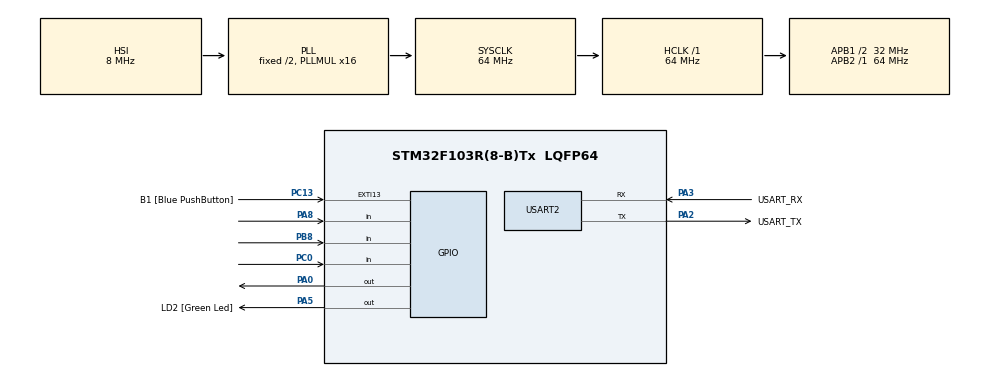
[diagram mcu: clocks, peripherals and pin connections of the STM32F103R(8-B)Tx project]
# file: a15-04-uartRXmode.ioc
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Mcu.Family=STM32F1
Mcu.Name=STM32F103R(8-B)Tx
Mcu.Package=LQFP64
NVIC.EXTI15_10_IRQn=true\:0\:0\:false\:false\:true\:true\:true
NVIC.PriorityGroup=NVIC_PRIORITYGROUP_4
NVIC.TIM3_IRQn=true\:0\:0\:false\:false\:true\:true\:true
PA0-WKUP.Signal=GPIO_Output
PA13.GPIO_Label=TMS
PA13.Mode=Serial_Wire
PA13.Signal=SYS_JTMS-SWDIO
PA14.GPIO_Label=TCK
PA14.Mode=Serial_Wire
PA14.Signal=SYS_JTCK-SWCLK
PA2.GPIO_Label=USART_TX
PA2.GPIO_Mode=GPIO_MODE_AF_PP
PA2.GPIO_PuPd=GPIO_NOPULL
PA2.GPIO_Speed=GPIO_SPEED_FREQ_LOW
PA2.Mode=Asynchronous
PA2.Signal=USART2_TX
PA3.GPIO_Label=USART_RX
PA3.GPIO_Mode=GPIO_MODE_AF_PP
PA3.GPIO_PuPd=GPIO_NOPULL
PA3.GPIO_Speed=GPIO_SPEED_FREQ_LOW
PA3.Mode=Asynchronous
PA3.Signal=USART2_RX
PA5.GPIO_Label=LD2 [Green Led]
PA5.GPIO_ModeDefaultOutputPP=GPIO_MODE_OUTPUT_PP
PA5.GPIO_PuPd=GPIO_NOPULL
PA5.GPIO_Speed=GPIO_SPEED_FREQ_LOW
PA5.Signal=GPIO_Output
PA8.Signal=GPIO_Input
PB3.GPIO_Label=SWO
PB3.Signal=SYS_JTDO-TRACESWO
PB8.Signal=GPIO_Input
PC0.Signal=GPIO_Input
PC13-TAMPER-RTC.GPIO_Label=B1 [Blue PushButton]
PC13-TAMPER-RTC.GPIO_PuPd=GPIO_NOPULL
PC13-TAMPER-RTC.Signal=GPXTI13
PC14-OSC32_IN.Mode=LSE-External-Oscillator
PC14-OSC32_IN.Signal=RCC_OSC32_IN
PC15-OSC32_OUT.Mode=LSE-External-Oscillator
PC15-OSC32_OUT.Signal=RCC_OSC32_OUT
PD0-OSC_IN.Mode=HSE-External-Clock-Source
PD0-OSC_IN.Signal=RCC_OSC_IN
PD1-OSC_OUT.Mode=HSE-External-Clock-Source
PD1-OSC_OUT.Signal=RCC_OSC_OUT
ProjectManager.HeapSize=0x200
ProjectManager.StackSize=0x400
ProjectManager.TargetToolchain=STM32CubeIDE
RCC.AHBFreq_Value=64000000
RCC.APB1CLKDivider=RCC_HCLK_DIV2
RCC.APB1Freq_Value=32000000
RCC.APB1TimFreq_Value=64000000
RCC.APB2Freq_Value=64000000
RCC.APB2TimFreq_Value=64000000
RCC.HCLKFreq_Value=64000000
RCC.PLLMUL=RCC_PLL_MUL16
RCC.RTCClockSelection=RCC_RTCCLKSOURCE_LSE
RCC.SYSCLKFreq_VALUE=64000000
RCC.SYSCLKSource=RCC_SYSCLKSOURCE_PLLCLK
RCC.USBFreq_Value=64000000
TIM3.Period=25
TIM3.Prescaler=63
USART2.VirtualMode=VM_ASYNC
VP_TIM3_VS_ClockSourceINT.Mode=Internal
board=NUCLEO-F103RB

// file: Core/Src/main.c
/* USER CODE BEGIN Header */
/**
  ******************************************************************************
  * @file           : main.c
  * @brief          : Main program body
  ******************************************************************************
  * @attention
  *
  * <h2><center>&copy; Copyright (c) 2022 STMicroelectronics.
  * All rights reserved.</center></h2>
  *
  * This software component is licensed by ST under BSD 3-Clause license,
  * the "License"; You may not use this file except in compliance with the
  * License. You may obtain a copy of the License at:
  *                        opensource.org/licenses/BSD-3-Clause
  *
  ******************************************************************************
  */
/* USER CODE END Header */

#include "main.h"

/* USER CODE BEGIN Includes */
#include "stdio.h"
/* USER CODE END Includes */

/* USER CODE BEGIN PD */
#ifdef __GNUC__
  /* With GCC/RAISONANCE, small printf (option LD Linker->Libraries->Small printf
     set to 'Yes') calls __io_putchar() */
  #define PUTCHAR_PROTOTYPE int __io_putchar(int ch)
#else
  #define PUTCHAR_PROTOTYPE int fputc(int ch, FILE *f)
#endif /* __GNUC__ */

typedef struct ts_rxType{
	char start;
	unsigned char data;
	char parity;
	char stop;
	char error;
} rxType;
/* USER CODE END PD */

TIM_HandleTypeDef htim3;

UART_HandleTypeDef huart2;

/* USER CODE BEGIN PV */

char Uart_Rx_Parity_Mode;
rxType rxData[32];
int rxByte_cnt;
int rxBit_cnt;
int rxBit_value;
int rxSamp_cnt;
int rxParity_bit;
char Uart_Rx_flag;
char Uart_Rx_active;
char Uart_Rx_Temp;
char Uart_Rx_trigger;
char Uart_Rx_data;
char Uart_Rx_parity;
char Uart_Rx_stop;

/* USER CODE END PV */

void SystemClock_Config(void);
static void MX_GPIO_Init(void);
static void MX_TIM3_Init(void);
static void MX_USART2_UART_Init(void);

/* USER CODE BEGIN 0 */

PUTCHAR_PROTOTYPE
{
  /* Place your implementation of fputc here */
  /* e.g. write a character to the EVAL_COM1 and Loop until the end of transmission */
  HAL_UART_Transmit(&huart2, (uint8_t *)&ch, 1, 0xFFFF);

  return ch;
}

void HAL_TIM_PeriodElapsedCallback(TIM_HandleTypeDef *htim)
{
	if(htim->Instance == htim3.Instance){
		if('y' == Uart_Rx_flag){
			if('n' == Uart_Rx_active){
				//Rx가 active하지 않을 떄는 Temp에 값을 받아옴.
				Uart_Rx_Temp <<= 1; // 값을 하나씩 밀어서 저장
				if(GPIO_PIN_SET == HAL_GPIO_ReadPin(GPIOC, GPIO_PIN_0)){
					Uart_Rx_Temp += 1; //값이 true면 오른쪽 비트에 1을 씀
				}
				if((Uart_Rx_Temp & 0x0f) == 0x0c){
					//쭉 보다보니 Temp에 들어온 값이 1100일 때 스타트로 인식
					Uart_Rx_active = 'y'; //active yes로 만듬
					Uart_Rx_Temp = 0x00; //temp 값을 비움
					rxByte_cnt += 1; //바이트 하나를 셈
					rxData[rxByte_cnt].start = 'y'; //start yes
					rxData[rxByte_cnt].data = 0x00; //data 0x00
					rxData[rxByte_cnt].parity = 'n'; //parity n
					rxData[rxByte_cnt].stop = 'x'; //stop x
					rxBit_cnt = 0; //bit count 0
					rxSamp_cnt = 0; // Sample count 0
					rxParity_bit = 0; //parity 0
					Uart_Rx_trigger = 'n'; //trigger no
					Uart_Rx_data = 'n'; //data no
					Uart_Rx_parity = 'n'; //parity none
					Uart_Rx_stop = 'n'; //stop no
				}
			}else{ //114번 줄에서 y로 바뀜
				Uart_Rx_trigger = 'n'; //trigger no c125에서도 no로 만듬
				rxSamp_cnt += 1;
				if((rxSamp_cnt % 4) == 0){
					//샘플링 4번 하고
					Uart_Rx_trigger = 'y'; //그러면 trigger yes로 만듬
					if(GPIO_PIN_SET == HAL_GPIO_ReadPin(GPIOC, GPIO_PIN_0)){
						rxBit_value = 1;
						//만약 값이 들어오면 bit value 1로
					}else{
						rxBit_value = 0;
						//안들어오면 0으로
					}
					rxBit_cnt += 1;
					//비트 카운터를 1 더함
					if((1 <= rxBit_cnt) && (rxBit_cnt <= 8)){
						//비트 카운터가 1부터 8일 때는
						Uart_Rx_data = 'y'; //data를 y로 만듬
					//---
					}else if(9 == rxBit_cnt){
						//비트 카운터가 9라면
						Uart_Rx_data = 'n'; //data 가 n이ㅣ됨
						if('n' == Uart_Rx_Parity_Mode){
							//패리티가 n이라면
							Uart_Rx_parity = 'n'; //parity no
							Uart_Rx_stop = 'y'; //stop yes
						}else if('e' == Uart_Rx_Parity_Mode){
							//패리티가 e라면
							Uart_Rx_parity = 'y'; //parity yes
						}else if('o' == Uart_Rx_Parity_Mode){
							Uart_Rx_parity = 'y'; //parity yes
						}
					}else if(10 == rxBit_cnt){
						Uart_Rx_parity = 'n'; //parity no
						Uart_Rx_stop = 'y'; //stop yes!
					}
					//---
					/*
					else if(9 == rxBit_cnt){
						Uart_Rx_data = 'n';
						Uart_Rx_parity = 'y';

						//----- pairyt bit 異붽? ----------------------

					}else if(10 == rxBit_cnt){
						Uart_Rx_parity = 'n';
						Uart_Rx_stop = 'y';

						//----- stop bit 異붽? ----------------------

					}
					*/
				}
				if(('y' == Uart_Rx_trigger) && ('y' == Uart_Rx_data)){
					//만약 trigger yes에 (만약 데이터를 샘플링 했다면 yes가 됨)
					//data yes라면 실행
					rxData[rxByte_cnt].data >>= 1; //해당 struct.data를 오른쪽으로 1만큼 밀음
					if(1 == rxBit_value){
						//비트 value가 1이라면
						rxData[rxByte_cnt].data += 0x80;
						//데이터 맨 왼쪽에 1을 씀
						rxParity_bit += 1;
						//패리티 비트 갯수를 1로 더함;
					}
				}
				if(('y' == Uart_Rx_trigger) && ('y' == Uart_Rx_parity)){
					//trigger yes고 parity yes라면
					//---
					if('e' == Uart_Rx_Parity_Mode){
						//패리티가 e라면
						if(((rxParity_bit % 2) == 0) && (0 == rxBit_value)){
							//만약 패리티 비트 갯수가 짝수고, bitvalue가 더이상 없다면
							rxData[rxByte_cnt].parity = 'e'; //패리티는 e다
						}else if(((rxParity_bit % 2) == 1) && (1 == rxBit_value)){
							//만약 비트 갯수가 홀수고 bitvalue가 하나 있다면
							rxData[rxByte_cnt].parity = 'e';//e다
						}else{
							rxData[rxByte_cnt].parity = 'f'; //아니면 f
						}
					}else if('o' == Uart_Rx_Parity_Mode){
						//만약 parity가 o라면
						if(((rxParity_bit % 2) == 0) && (1 == rxBit_value)){
							//짝수개고 bitvalue가 하나 남았으면
							rxData[rxByte_cnt].parity = 'o'; //o다

						}else if(((rxParity_bit % 2) == 1) && (0 == rxBit_value)){
							//홀수개인데 비트 밸류가 남지 않았다면
							rxData[rxByte_cnt].parity = 'o'; //o다
						}else{
							rxData[rxByte_cnt].parity = 'f'; //아니면 f다
						}
					}
					/*
					else if('n' == Uart_Rx_Parity_Mode){
						//패리티가 n이면
						if(((rxParity_bit % 2) == 0) && (1 == rxBit_value)){
							rxData[rxByte_cnt].parity = 'o';
						}else if(((rxParity_bit % 2) == 1) && (0 == rxBit_value)){
							rxData[rxByte_cnt].parity = 'o';
						}else{
							rxData[rxByte_cnt].parity = 'f';
						}
					}
					*/
					//---

					//----- pairyt bit 異붽? ----------------------

				}
				if(('y' == Uart_Rx_trigger) && ('y' == Uart_Rx_stop)){
					//만약 trigger yes인데 stop도 yes라면
					//---
					Uart_Rx_active = 'n';
					//active no로 하고
					if(1 == rxBit_value){
						//bitvalue가 1이라면
						rxData[rxByte_cnt].stop = 'y';
						//멈추자
					}else{
						rxData[rxByte_cnt].stop = 'n';
						//멈추지마
					}
					//---

					//Uart_Rx_active = 'n';
					//----- stop bit 수정----------------------

				}
			}
		}
	}
}
/* USER CODE END 0 */

int main(void)
{
  /* USER CODE BEGIN 1 */

	HAL_StatusTypeDef tim3_it_start;
	GPIO_PinState pc13pin;
	GPIO_PinState pa8pin, pb8pin;
	int m; //굳이 for문 m을 밖에 선언 (아마 초기화할 생각이 없는듯)
  /* USER CODE END 1 */

  /* MCU Configuration--------------------------------------------------------*/

  /* Reset of all peripherals, Initializes the Flash interface and the Systick. */
  HAL_Init(); //hal 시작

  /* Configure the system clock */
  SystemClock_Config(); //timer config 설정

  /* Initialize all configured peripherals */
  MX_GPIO_Init();
  MX_TIM3_Init();
  MX_USART2_UART_Init();
  /* USER CODE BEGIN 2 */

  printf("---uart rx mode\r\n---");

  //-----parameter initial-----
  Uart_Rx_Parity_Mode = 'n'; // 'n':none, 'e':even, 'o':odd
  rxByte_cnt = 0;
  rxBit_cnt = 0;
  rxSamp_cnt = 0;
  Uart_Rx_flag = 'n';
  Uart_Rx_active = 'n';
  Uart_Rx_Temp = 0x00;

  tim3_it_start = HAL_TIM_Base_Start_IT(&htim3);
  if(HAL_OK == tim3_it_start){
	  printf("HAL_TIM_Base_Start_IT OK\r\n");
  }else{
	  printf("HAL_TIM_Base_Start_IT error\r\n");
  }

  //-----uart rx mode : start-----
  Uart_Rx_flag = 'y'; //flag는 yes다
  Uart_Rx_active = 'n'; //active는 no 아직 시작안한듯 나중에 바이트 받은게 있는데 active no면 받은 값을 출력
  /* USER CODE END 2 */

  /* Infinite loop */
  while (1)
  {

    /* USER CODE BEGIN 3 */

	  pa8pin = HAL_GPIO_ReadPin(GPIOA, GPIO_PIN_8);
	  pb8pin = HAL_GPIO_ReadPin(GPIOB, GPIO_PIN_8);

	  //패리티 계산용 핀 읽기
	  if((GPIO_PIN_SET == pa8pin) && (GPIO_PIN_RESET == pb8pin)){ //패리티 구분 코드
		  //두개 true면 even
		  Uart_Rx_Parity_Mode = 'e';
	  }else if((GPIO_PIN_RESET == pa8pin) && (GPIO_PIN_SET == pb8pin)){
		  //a8 0이면 odd
		  Uart_Rx_Parity_Mode = 'o';
	  }else{
		  //아무것도 아니면 none
		  Uart_Rx_Parity_Mode = 'n';
	  }

	 /*
	  pc13pin = HAL_GPIO_ReadPin(GPIOC, GPIO_PIN_13);
	  if(GPIO_PIN_RESET == pc13pin){
		  for(m = 1; m <= rxByte_cnt; m++){
			  printf("--rx:%c--data[%d]=0x%02x,parity=%c,stop=%c\r\n",Uart_Rx_Parity_Mode,m,rxData[m].data,rxData[m].parity,rxData[m].stop);
		  }
		  rxByte_cnt = 0;
	  }
	 */

	  //----- uart rx mode ------------------------------------------------------------------------------
	  if(('n' == Uart_Rx_active) && (1 <= rxByte_cnt)){
		  //active가 no고 byte count가 1보다 크거나 같다면
		  for(m = 1; m <= rxByte_cnt; m++){
			  //바이트 카운트 갯수만큼 출력
			  printf("---rx:%c---data[%d]=0x%02x,parity=%c,stop=%c\r\n",Uart_Rx_Parity_Mode,m,rxData[m].data,rxData[m].parity,rxData[m].stop);
		  }
		  rxByte_cnt = 0;
	  }
	  //----- uart rx mode ------------------------------------------------------------------------------

	  HAL_Delay(200);
	  HAL_GPIO_TogglePin(GPIOA, GPIO_PIN_5);

  }
  /* USER CODE END 3 */

}

void SystemClock_Config(void)
{
  RCC_OscInitTypeDef RCC_OscInitStruct = {0};
  RCC_ClkInitTypeDef RCC_ClkInitStruct = {0};

  /** Initializes the CPU, AHB and APB busses clocks
  */
  RCC_OscInitStruct.OscillatorType = RCC_OSCILLATORTYPE_HSI;
  RCC_OscInitStruct.HSIState = RCC_HSI_ON;
  RCC_OscInitStruct.HSICalibrationValue = RCC_HSICALIBRATION_DEFAULT;
  RCC_OscInitStruct.PLL.PLLState = RCC_PLL_ON;
  RCC_OscInitStruct.PLL.PLLSource = RCC_PLLSOURCE_HSI_DIV2;
  RCC_OscInitStruct.PLL.PLLMUL = RCC_PLL_MUL16;
  if (HAL_RCC_OscConfig(&RCC_OscInitStruct) != HAL_OK)
  {
    Error_Handler();
  }
  /** Initializes the CPU, AHB and APB busses clocks
  */
  RCC_ClkInitStruct.ClockType = RCC_CLOCKTYPE_HCLK|RCC_CLOCKTYPE_SYSCLK
                              |RCC_CLOCKTYPE_PCLK1|RCC_CLOCKTYPE_PCLK2;
  RCC_ClkInitStruct.SYSCLKSource = RCC_SYSCLKSOURCE_PLLCLK;
  RCC_ClkInitStruct.AHBCLKDivider = RCC_SYSCLK_DIV1;
  RCC_ClkInitStruct.APB1CLKDivider = RCC_HCLK_DIV2;
  RCC_ClkInitStruct.APB2CLKDivider = RCC_HCLK_DIV1;

  if (HAL_RCC_ClockConfig(&RCC_ClkInitStruct, FLASH_LATENCY_2) != HAL_OK)
  {
    Error_Handler();
  }
}

static void MX_TIM3_Init(void)
{

  TIM_ClockConfigTypeDef sClockSourceConfig = {0};
  TIM_MasterConfigTypeDef sMasterConfig = {0};

  htim3.Instance = TIM3;
  htim3.Init.Prescaler = 63;
  htim3.Init.CounterMode = TIM_COUNTERMODE_UP;
  htim3.Init.Period = 25;
  htim3.Init.ClockDivision = TIM_CLOCKDIVISION_DIV1;
  htim3.Init.AutoReloadPreload = TIM_AUTORELOAD_PRELOAD_DISABLE;
  if (HAL_TIM_Base_Init(&htim3) != HAL_OK)
  {
    Error_Handler();
  }
  sClockSourceConfig.ClockSource = TIM_CLOCKSOURCE_INTERNAL;
  if (HAL_TIM_ConfigClockSource(&htim3, &sClockSourceConfig) != HAL_OK)
  {
    Error_Handler();
  }
  sMasterConfig.MasterOutputTrigger = TIM_TRGO_RESET;
  sMasterConfig.MasterSlaveMode = TIM_MASTERSLAVEMODE_DISABLE;
  if (HAL_TIMEx_MasterConfigSynchronization(&htim3, &sMasterConfig) != HAL_OK)
  {
    Error_Handler();
  }

}

static void MX_USART2_UART_Init(void)
{

  huart2.Instance = USART2;
  huart2.Init.BaudRate = 115200;
  huart2.Init.WordLength = UART_WORDLENGTH_8B;
  huart2.Init.StopBits = UART_STOPBITS_1;
  huart2.Init.Parity = UART_PARITY_NONE;
  huart2.Init.Mode = UART_MODE_TX_RX;
  huart2.Init.HwFlowCtl = UART_HWCONTROL_NONE;
  huart2.Init.OverSampling = UART_OVERSAMPLING_16;
  if (HAL_UART_Init(&huart2) != HAL_OK)
  {
    Error_Handler();
  }

}

static void MX_GPIO_Init(void)
{
  GPIO_InitTypeDef GPIO_InitStruct = {0};

  /* GPIO Ports Clock Enable */
  __HAL_RCC_GPIOC_CLK_ENABLE();
  __HAL_RCC_GPIOD_CLK_ENABLE();
  __HAL_RCC_GPIOA_CLK_ENABLE();
  __HAL_RCC_GPIOB_CLK_ENABLE();

  /*Configure GPIO pin Output Level */
  HAL_GPIO_WritePin(GPIOA, GPIO_PIN_0|LD2_Pin, GPIO_PIN_RESET);

  /*Configure GPIO pin : B1_Pin */
  GPIO_InitStruct.Pin = B1_Pin;
  GPIO_InitStruct.Mode = GPIO_MODE_IT_RISING;
  GPIO_InitStruct.Pull = GPIO_NOPULL;
  HAL_GPIO_Init(B1_GPIO_Port, &GPIO_InitStruct);

  /*Configure GPIO pin : PC0 */
  GPIO_InitStruct.Pin = GPIO_PIN_0;
  GPIO_InitStruct.Mode = GPIO_MODE_INPUT;
  GPIO_InitStruct.Pull = GPIO_NOPULL;
  HAL_GPIO_Init(GPIOC, &GPIO_InitStruct);

  /*Configure GPIO pins : PA0 LD2_Pin */
  GPIO_InitStruct.Pin = GPIO_PIN_0|LD2_Pin;
  GPIO_InitStruct.Mode = GPIO_MODE_OUTPUT_PP;
  GPIO_InitStruct.Pull = GPIO_NOPULL;
  GPIO_InitStruct.Speed = GPIO_SPEED_FREQ_LOW;
  HAL_GPIO_Init(GPIOA, &GPIO_InitStruct);

  /*Configure GPIO pin : PA8 */
  GPIO_InitStruct.Pin = GPIO_PIN_8;
  GPIO_InitStruct.Mode = GPIO_MODE_INPUT;
  GPIO_InitStruct.Pull = GPIO_NOPULL;
  HAL_GPIO_Init(GPIOA, &GPIO_InitStruct);

  /*Configure GPIO pin : PB8 */
  GPIO_InitStruct.Pin = GPIO_PIN_8;
  GPIO_InitStruct.Mode = GPIO_MODE_INPUT;
  GPIO_InitStruct.Pull = GPIO_NOPULL;
  HAL_GPIO_Init(GPIOB, &GPIO_InitStruct);

  /* EXTI interrupt init*/
  HAL_NVIC_SetPriority(EXTI15_10_IRQn, 0, 0);
  HAL_NVIC_EnableIRQ(EXTI15_10_IRQn);

}

void Error_Handler(void)
{
}

/************************ (C) COPYRIGHT STMicroelectronics *****END OF FILE****/
